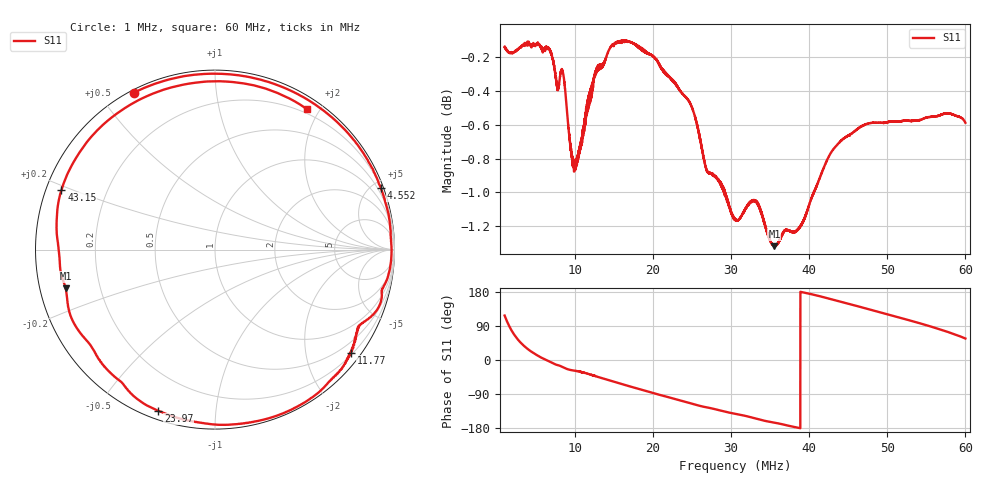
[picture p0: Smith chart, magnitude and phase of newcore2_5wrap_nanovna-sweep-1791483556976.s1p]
! NanoVNA Web complex sweep
! Processing: unaveraged complex samples; linear segment spacing; no smoothing
# Hz S RI R 50
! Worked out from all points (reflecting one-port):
!   5050 points, 1 MHz to 60 MHz, reference 50 ohm
!   lowest |S11| = -1.3 dB at 35.55 MHz (marker M1), VSWR 13.21, Z = 3.85 - j6.33 ohm
!   phase of S11 starts at 117 deg and turns -421 deg over the sweep
!   S11 on the Smith chart (normalised r, x): 1 MHz: 0.01, +0.61; 4.552 MHz: 0.24, +5.58; 11.77 MHz: 0.24, -2.96; 23.97 MHz: 0.04, -0.71; 43.15 MHz: 0.04, +0.19; 60 MHz: 0.15, +1.85
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1000000  -0.4516 0.8743
1210330  -0.2789 0.9416
1712785  0.0935 0.9753
2145130  0.3444 0.9177
2612530  0.547 0.8155
3488905  0.7853 0.5945
4552240  0.9241 0.3418
6375100  0.9836 -0.0111
8384920  0.9197 -0.3043
9681955  0.8123 -0.4172
1.177357e7  0.7589 -0.5747
1.575816e7  0.4642 -0.8719
1.952072e7  0.0996 -0.9743
2.313139e7  -0.2438 -0.9263
2.397271e7  -0.3162 -0.8981
2.609938e7  -0.4826 -0.7865
3.050462e7  -0.6882 -0.5406
3.33324e7  -0.805 -0.3673
3.555254e7  -0.8319 -0.2152
3.787786e7  -0.8655 -0.063
4.099776e7  -0.8823 0.1546
4.31478e7  -0.8554 0.334
4.52511e7  -0.7787 0.5034
4.896692e7  -0.5558 0.7514
5.262433e7  -0.2555 0.9003
5.674914e7  0.1499 0.9273
5.839672e7  0.3303 0.8797
5.999756e7  0.5136 0.7807
